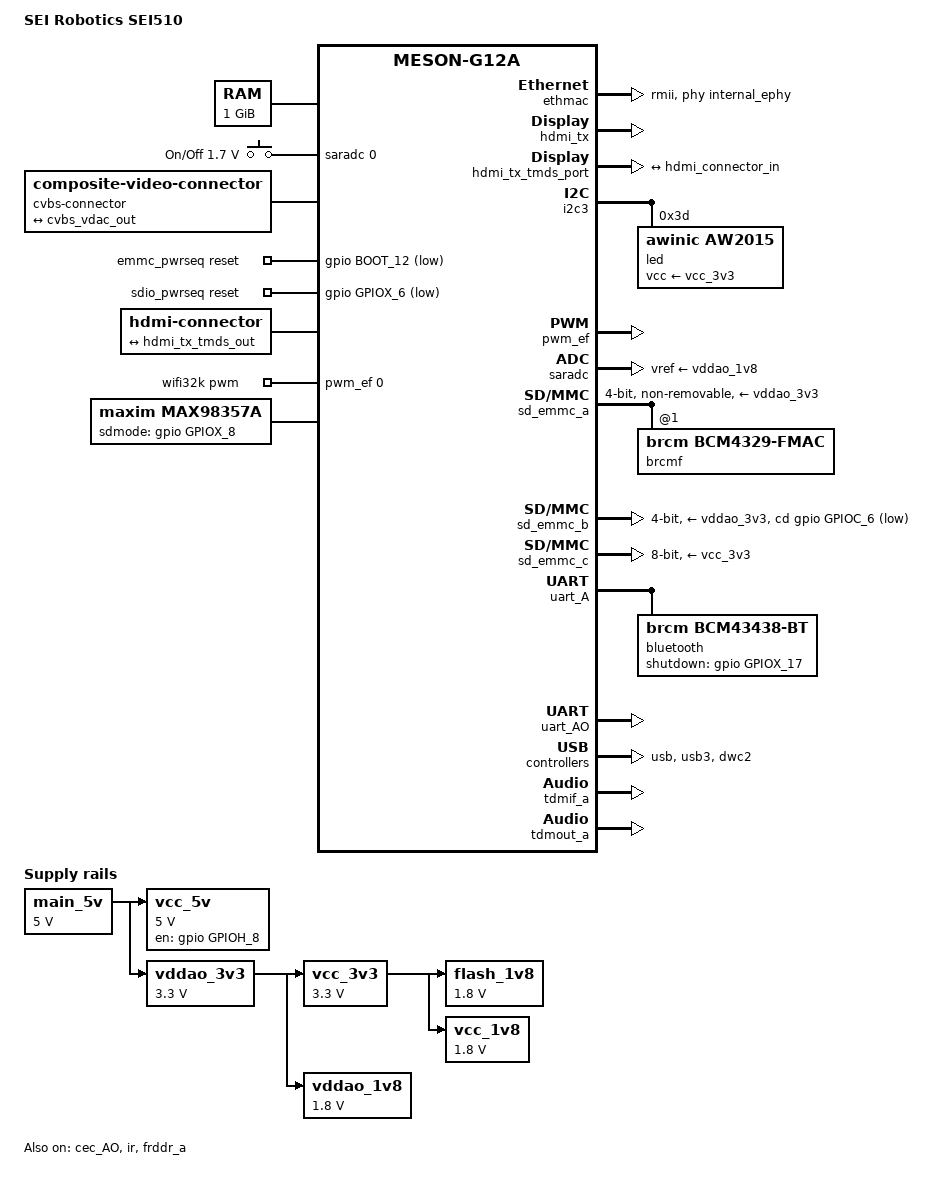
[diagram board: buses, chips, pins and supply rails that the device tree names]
// SPDX-License-Identifier: (GPL-2.0+ OR MIT)
/*
 * Copyright (c) 2018 BayLibre SAS. All rights reserved.
 */

/dts-v1/;

#include "meson-g12a.dtsi"
#include <dt-bindings/gpio/meson-g12a-gpio.h>
#include <dt-bindings/input/input.h>

/ {
	compatible = "seirobotics,sei510", "amlogic,g12a";
	model = "SEI Robotics SEI510";

	aliases {
		serial0 = &uart_AO;
		i2c0 = &i2c3;
	};

	chosen {
		stdout-path = "serial0:115200n8";
	};

	memory@0 {
		device_type = "memory";
		reg = <0x0 0x0 0x0 0x40000000>;
	};

	reserved-memory {
		/* TEE Reserved Memory */
		bl32_reserved: bl32@5000000 {
			reg = <0x0 0x05300000 0x0 0x2000000>;
			no-map;
		};
	};

	firmware {
		optee {
			compatible = "linaro,optee-tz";
			method = "smc";
		};
	};

	adc_keys {
		compatible = "adc-keys";
		io-channels = <&saradc 0>;
		io-channel-names = "buttons";
		keyup-threshold-microvolt = <1800000>;

		button-onoff {
			label = "On/Off";
			linux,code = <KEY_POWER>;
			press-threshold-microvolt = <1700000>;
		};
	};

	cvbs-connector {
		compatible = "composite-video-connector";

		port {
			cvbs_connector_in: endpoint {
				remote-endpoint = <&cvbs_vdac_out>;
			};
		};
	};

	emmc_pwrseq: emmc-pwrseq {
		compatible = "mmc-pwrseq-emmc";
		reset-gpios = <&gpio BOOT_12 GPIO_ACTIVE_LOW>;
	};
	
	sdio_pwrseq: sdio-pwrseq {
		compatible = "mmc-pwrseq-simple";
		reset-gpios = <&gpio GPIOX_6 GPIO_ACTIVE_LOW>;
		clocks = <&wifi32k>;
		clock-names = "ext_clock";
	};

	flash_1v8: regulator-flash_1v8 {
		compatible = "regulator-fixed";
		regulator-name = "FLASH_1V8";
		regulator-min-microvolt = <1800000>;
		regulator-max-microvolt = <1800000>;
		vin-supply = <&vcc_3v3>;
		regulator-always-on;
	};

	main_5v: regulator-main_5v {
		compatible = "regulator-fixed";
		regulator-name = "5V";
		regulator-min-microvolt = <5000000>;
		regulator-max-microvolt = <5000000>;
		regulator-always-on;
	};

	vcc_1v8: regulator-vcc_1v8 {
		compatible = "regulator-fixed";
		regulator-name = "VCC_1V8";
		regulator-min-microvolt = <1800000>;
		regulator-max-microvolt = <1800000>;
		vin-supply = <&vcc_3v3>;
		regulator-always-on;
	};

	vcc_3v3: regulator-vcc_3v3 {
		compatible = "regulator-fixed";
		regulator-name = "VCC_3V3";
		regulator-min-microvolt = <3300000>;
		regulator-max-microvolt = <3300000>;
		vin-supply = <&vddao_3v3>;
		regulator-always-on;
		/* FIXME: actually controlled by VDDCPU_B_EN */
	};

	vcc_5v: regulator-vcc_5v {
		compatible = "regulator-fixed";
		regulator-name = "VCC_5V";
		regulator-min-microvolt = <5000000>;
		regulator-max-microvolt = <5000000>;
		vin-supply = <&main_5v>;

		gpio = <&gpio GPIOH_8 GPIO_ACTIVE_HIGH>;
		enable-active-high;
	};

	vddao_1v8: regulator-vddao_1v8 {
		compatible = "regulator-fixed";
		regulator-name = "VDDAO_1V8";
		regulator-min-microvolt = <1800000>;
		regulator-max-microvolt = <1800000>;
		vin-supply = <&vddao_3v3>;
		regulator-always-on;
	};

	vddao_3v3: regulator-vddao_3v3 {
		compatible = "regulator-fixed";
		regulator-name = "VDDAO_3V3";
		regulator-min-microvolt = <3300000>;
		regulator-max-microvolt = <3300000>;
		vin-supply = <&main_5v>;
		regulator-always-on;
	};

	hdmi-connector {
		compatible = "hdmi-connector";
		type = "a";

		port {
			hdmi_connector_in: endpoint {
				remote-endpoint = <&hdmi_tx_tmds_out>;
			};
		};
	};

	wifi32k: wifi32k {
		compatible = "pwm-clock";
		#clock-cells = <0>;
		clock-frequency = <32768>;
		pwms = <&pwm_ef 0 30518 0>; /* PWM_E at 32.768KHz */
	};

	max98357a: audio-codec {
		compatible = "maxim,max98357a";
		sdmode-gpios = <&gpio GPIOX_8 GPIO_ACTIVE_HIGH>;
		#sound-dai-cells = <0>;
		sound-name-prefix = "SPK1";
	};

	sound {
		compatible = "amlogic,axg-sound-card";
		model = "G12A-SEI510";
		audio-aux-devs = <&tdmout_a>;
		audio-routing = "TDMOUT_A IN 0", "FRDDR_A OUT 0",
				"TDM_A Playback", "TDMOUT_A OUT";
		assigned-clocks = <&clkc CLKID_HIFI_PLL>,
				  <&clkc CLKID_MPLL0>,
				  <&clkc CLKID_MPLL1>;
		assigned-clock-parents = <0>, <0>, <0>;
		assigned-clock-rates = <589824000>,
				       <270950400>,
				       <393216000>;
		status = "okay";

		dai-link-0 {
			sound-dai = <&frddr_a>;
		};

		dai-link-1 {
			sound-dai = <&tdmif_a>;
			dai-format = "i2s";
			dai-tdm-slot-tx-mask-0 = <1 1>;
			mclk-fs = <256>;

			codec@0 {
				sound-dai = <&max98357a>;
			};
		};
	};
};

&cec_AO {
	pinctrl-0 = <&cec_ao_a_h_pins>;
	pinctrl-names = "default";
	status = "okay";
	hdmi-phandle = <&hdmi_tx>;
};

&cvbs_vdac_port {
	cvbs_vdac_out: endpoint {
		remote-endpoint = <&cvbs_connector_in>;
	};
};

&ethmac {
	status = "okay";
	phy-handle = <&internal_ephy>;
	phy-mode = "rmii";
};

&hdmi_tx {
	status = "okay";
	pinctrl-0 = <&hdmitx_hpd_pins>, <&hdmitx_ddc_pins>;
	pinctrl-names = "default";
	hdmi-supply = <&vcc_5v>;
};

&hdmi_tx_tmds_port {
	hdmi_tx_tmds_out: endpoint {
		remote-endpoint = <&hdmi_connector_in>;
	};
};

&i2c3 {
	status = "okay";
	pinctrl-0 = <&i2c3_a_pins>;
	pinctrl-names = "default";

	led@3d {
		compatible = "awinic,aw2015";
		reg = <0x3d>;
		vcc-supply = <&vcc_3v3>;

		r {
			aw2015,name = "R";
			aw2015,id = <1>;
			aw2015,max-brightness = <255>;
			aw2015,max-current = <255>;
			aw2015,rise-time-ms = <10>;
			aw2015,hold-time-ms = <10>;
			aw2015,fall-time-ms = <10>;
			aw2015,off-time-ms = <10>;
			aw2015,pwm-duty = <50>;
		};

		g {
			aw2015,name = "G";
			aw2015,id = <2>;
			aw2015,max-brightness = <255>;
			aw2015,max-current = <255>;
			aw2015,rise-time-ms = <10>;
			aw2015,hold-time-ms = <10>;
			aw2015,fall-time-ms = <10>;
			aw2015,off-time-ms = <10>;
			aw2015,pwm-duty = <50>;
		};

		b{
			aw2015,name = "B";
			aw2015,id = <3>;
			aw2015,max-brightness = <255>;
			aw2015,max-current = <255>;
			aw2015,rise-time-ms = <10>;
			aw2015,hold-time-ms = <10>;
			aw2015,fall-time-ms = <10>;
			aw2015,off-time-ms = <10>;
			aw2015,pwm-duty = <50>;
		};
	};
};

&ir {
	status = "okay";
	pinctrl-0 = <&remote_input_ao_pins>;
	pinctrl-names = "default";
};

&pwm_ef {
	status = "okay";
	pinctrl-0 = <&pwm_e_pins>;
	pinctrl-names = "default";
};

&saradc {
	status = "okay";
	vref-supply = <&vddao_1v8>;
};

/* SDIO */
&sd_emmc_a {
	status = "okay";
	pinctrl-0 = <&sdio_pins>;
	pinctrl-1 = <&sdio_clk_gate_pins>;
	pinctrl-names = "default", "clk-gate";
	#address-cells = <1>;
	#size-cells = <0>;

	bus-width = <4>;
	cap-sd-highspeed;
	sd-uhs-sdr50;
	max-frequency = <100000000>;

	non-removable;
	disable-wp;

	mmc-pwrseq = <&sdio_pwrseq>;

	vmmc-supply = <&vddao_3v3>;
	vqmmc-supply = <&vddao_1v8>;

	brcmf: wifi@1 {
		reg = <1>;
		compatible = "brcm,bcm4329-fmac";
	};
};

/* SD card */
&sd_emmc_b {
	status = "okay";
	pinctrl-0 = <&sdcard_c_pins>;
	pinctrl-1 = <&sdcard_clk_gate_c_pins>;
	pinctrl-names = "default", "clk-gate";

	bus-width = <4>;
	cap-sd-highspeed;
	max-frequency = <50000000>;
	disable-wp;

	cd-gpios = <&gpio GPIOC_6 GPIO_ACTIVE_LOW>;
	vmmc-supply = <&vddao_3v3>;
	vqmmc-supply = <&vddao_3v3>;
};

/* eMMC */
&sd_emmc_c {
	status = "okay";
	pinctrl-0 = <&emmc_pins>, <&emmc_ds_pins>;
	pinctrl-1 = <&emmc_clk_gate_pins>;
	pinctrl-names = "default", "clk-gate";

	bus-width = <8>;
	cap-mmc-highspeed;
	mmc-ddr-1_8v;
	max-frequency = <200000000>;
	disable-wp;

	mmc-pwrseq = <&emmc_pwrseq>;
	vmmc-supply = <&vcc_3v3>;
	vqmmc-supply = <&flash_1v8>;
};

&uart_A {
	status = "okay";
	pinctrl-0 = <&uart_a_pins>, <&uart_a_cts_rts_pins>;
	pinctrl-names = "default";
	uart-has-rtscts;

	bluetooth {
		compatible = "brcm,bcm43438-bt";
		shutdown-gpios = <&gpio GPIOX_17 GPIO_ACTIVE_HIGH>;
	};
};

&uart_AO {
	status = "okay";
};

&usb {
	status = "okay";
};

&usb3 {
	status = "okay";
};

&dwc2 {
	status = "okay";
};

&frddr_a {
	status = "okay";
};

&tdmif_a {
	pinctrl-0 = <&tdm_a_sclk_pins>, <&tdm_a_fs_pins>, <&tdm_a_dout0_pins>;
	pinctrl-names = "default";
	status = "okay";
};

&tdmout_a {
	status = "okay";
};
